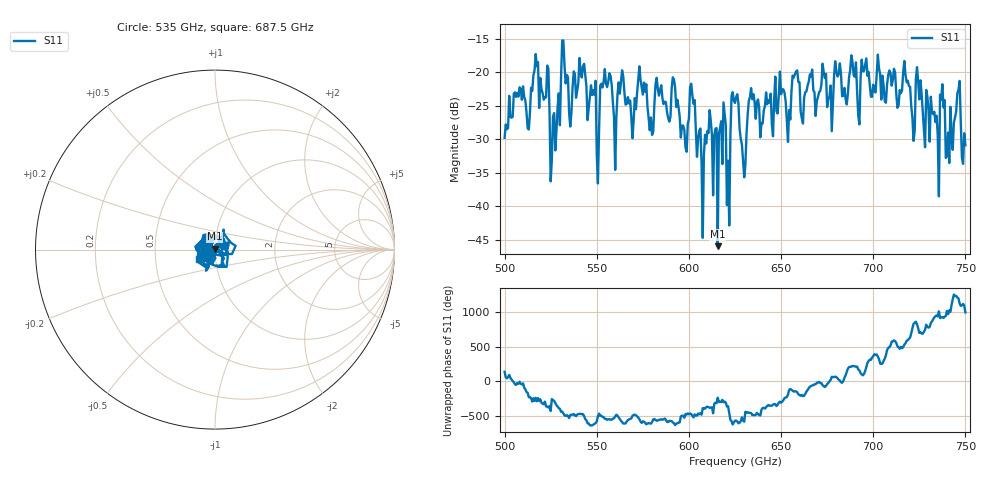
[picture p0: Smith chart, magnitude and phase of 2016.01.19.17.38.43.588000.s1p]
!Created with skrf (http://scikit-rf.org).
# GHz S RI R 50.0
!freq ReS11 ImS11
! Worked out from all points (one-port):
!   401 points, 500 GHz to 750 GHz, reference 50 ohm
!   lowest |S11| = -45.9 dB at 615.6 GHz (marker M1), VSWR 1.01, Z = 49.7 + j0.428 ohm
!   |S11| at or under -10 dB: start of sweep to end of sweep
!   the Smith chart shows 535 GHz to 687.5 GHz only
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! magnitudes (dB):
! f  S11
! 500 GHz  -29.8
! 512.5 GHz  -28.3
! 516.9 GHz  -17.3
! 526.2 GHz  -26.6
! 531.2 GHz  -15.2
! 535.6 GHz  -28.1
! 541.9 GHz  -20.8
! 550 GHz  -32.2
! 553.1 GHz  -22.3
! 560 GHz  -34.5
! 562.5 GHz  -23.2
! 579.4 GHz  -26.7
! 583.1 GHz  -22.5
! 593.8 GHz  -24.1
! 615.6 GHz  -45.9
! 618.8 GHz  -24.5
! 621.2 GHz  -33.2
! 625 GHz  -24.6
! 629.4 GHz  -33.2
! 633.8 GHz  -22.3
! 656.2 GHz  -20.5
! 687.5 GHz  -19.7
! 718.8 GHz  -21.2
! 734.4 GHz  -26.5
! 737.5 GHz  -21.8
! 740.6 GHz  -29.0
! 746.2 GHz  -22.6
! 750 GHz  -30.9
